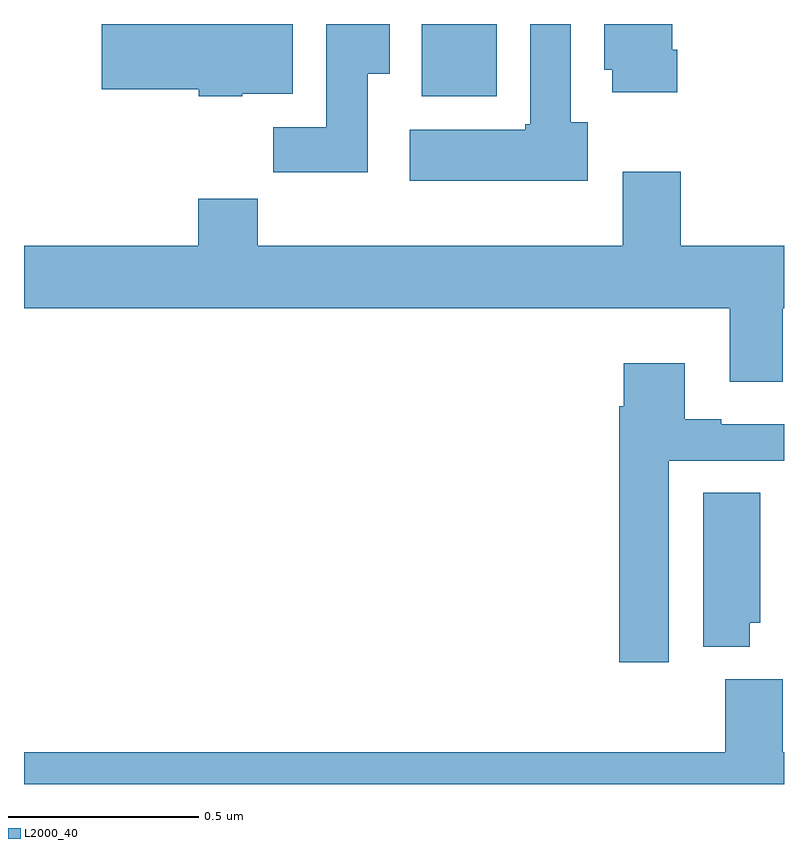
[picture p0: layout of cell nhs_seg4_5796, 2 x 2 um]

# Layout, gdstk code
import gdstk
lib = gdstk.Library(unit=1e-6, precision=1e-09)
def R(c, l, rs):  # rectangles x0, y0, x1, y1
    for r in rs: c.add(gdstk.rectangle(r[:2], r[2:], *l))
def P(c, l, *ps):  # polygons
    for p in ps: c.add(gdstk.Polygon(p, *l))
L2000_40 = (2000, 40)

nhs_seg4_5796 = lib.new_cell('nhs_seg4_5796')
R(nhs_seg4_5796, L2000_40, [(183.047,798.71,183.244,798.9)])
P(nhs_seg4_5796, L2000_40, [(182.574,798.716),(182.707,798.716),(182.707,798.9),(182.204,798.9),(182.204,798.728),(182.46,798.728),(182.46,798.71),(182.574,798.71)],
  [(183.719,798.832),(183.706,798.832),(183.706,798.9),(183.527,798.9),(183.527,798.78),(183.548,798.78),(183.548,798.72),(183.719,798.72)],
  [(182.905,798.769),(182.962,798.769),(182.962,798.9),(182.795,798.9),(182.795,798.628),(182.656,798.628),(182.656,798.51),(182.905,798.51)],
  [(183.484,798.642),(183.439,798.642),(183.439,798.9),(183.332,798.9),(183.332,798.636),(183.319,798.636),(183.319,798.622),(183.015,798.622),(183.015,798.488),(183.484,798.488)],
  [(183.997,798.152),(184,798.152),(184,798.316),(183.728,798.316),(183.728,798.511),(183.575,798.511),(183.575,798.316),(182.615,798.316),(182.615,798.44),(182.459,798.44),(182.459,798.316),(182,798.316),(182,798.152),(183.857,798.152),(183.857,797.958),(183.997,797.958)],
  [(183.697,797.751),(184,797.751),(184,797.847),(183.835,797.847),(183.835,797.86),(183.739,797.86),(183.739,798.007),(183.578,798.007),(183.578,797.894),(183.566,797.894),(183.566,797.22),(183.697,797.22)],
  [(183.91,797.325),(183.937,797.325),(183.937,797.666),(183.788,797.666),(183.788,797.261),(183.91,797.261)],
  [(184,796.984),(183.997,796.984),(183.997,797.176),(183.845,797.176),(183.845,796.984),(182,796.984),(182,796.9),(184,796.9)])

lib.write_gds('nhs_seg4_5796.gds')
